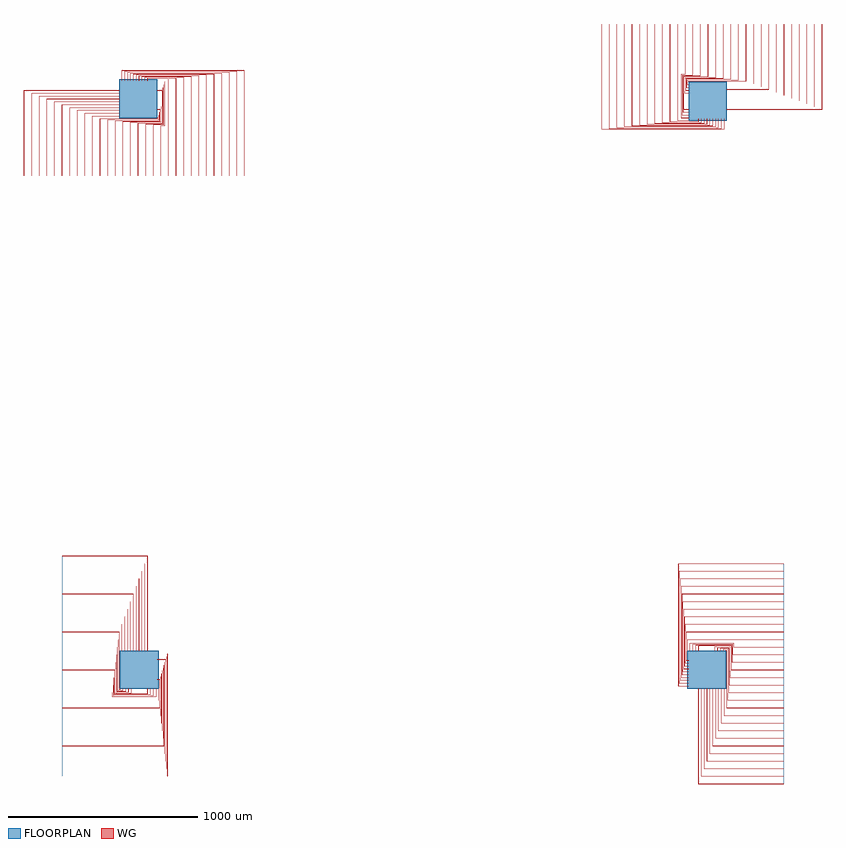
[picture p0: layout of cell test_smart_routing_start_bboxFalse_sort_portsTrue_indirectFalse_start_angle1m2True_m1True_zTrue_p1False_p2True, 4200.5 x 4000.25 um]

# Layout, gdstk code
import gdstk
lib = gdstk.Library(unit=1e-6, precision=1e-09)
def R(c, l, rs):  # rectangles x0, y0, x1, y1
    for r in rs: c.add(gdstk.rectangle(r[:2], r[2:], *l))
def P(c, l, *ps):  # polygons
    for p in ps: c.add(gdstk.Polygon(p, *l))
WG = (1, 0)
FLOORPLAN = (10, 0)

test_smart_routing_start = lib.new_cell('test_smart_routing_start_bboxFalse_sort_portsTrue_indirectFalse_start_angle1m2True_m1True_zTrue_p1False_p2True')
P(test_smart_routing_start, WG, [(3100,2949.75),(3100,2950.25),(3599.75,2950.25),(3599.75,3400),(3600.25,3400),(3600.25,2949.75)],
  [(3100,2964.75),(3100,2965.25),(3559.75,2965.25),(3559.75,3400),(3560.25,3400),(3560.25,2964.75)],
  [(3100,2979.75),(3100,2980.25),(3519.75,2980.25),(3519.75,3400),(3520.25,3400),(3520.25,2979.75)],
  [(3100,2994.75),(3100,2995.25),(3479.75,2995.25),(3479.75,3400),(3480.25,3400),(3480.25,2994.75)],
  [(3100,3009.75),(3100,3010.25),(3439.75,3010.25),(3439.75,3400),(3440.25,3400),(3440.25,3009.75)],
  [(3100,3024.75),(3100,3025.25),(3399.75,3025.25),(3399.75,3400),(3400.25,3400),(3400.25,3024.75)],
  [(3100,3039.75),(3100,3040.25),(3359.75,3040.25),(3359.75,3400),(3360.25,3400),(3360.25,3039.75)],
  [(3100,3054.75),(3100,3055.25),(3319.75,3055.25),(3319.75,3400),(3320.25,3400),(3320.25,3054.75)],
  [(3100,3069.75),(3100,3070.25),(3279.75,3070.25),(3279.75,3400),(3280.25,3400),(3280.25,3069.75)],
  [(3100,3084.75),(3100,3085.25),(3239.75,3085.25),(3239.75,3400),(3240.25,3400),(3240.25,3084.75)],
  [(2895.5,3094.75),(2895.5,3099.75),(3199.75,3099.75),(3199.75,3400),(3200.25,3400),(3200.25,3099.25),(2896,3099.25),(2896,3095.25),(2900,3095.25),(2900,3094.75)],
  [(2891,3079.75),(2891,3104.25),(3159.75,3104.25),(3159.75,3400),(3160.25,3400),(3160.25,3103.75),(2891.5,3103.75),(2891.5,3080.25),(2900,3080.25),(2900,3079.75)],
  [(2886.5,3064.75),(2886.5,3108.75),(3119.75,3108.75),(3119.75,3400),(3120.25,3400),(3120.25,3108.25),(2887,3108.25),(2887,3065.25),(2900,3065.25),(2900,3064.75)],
  [(2882,3049.75),(2882,3113.25),(3079.75,3113.25),(3079.75,3400),(3080.25,3400),(3080.25,3112.75),(2882.5,3112.75),(2882.5,3050.25),(2900,3050.25),(2900,3049.75)],
  [(2877.5,3034.75),(2877.5,3117.75),(3039.75,3117.75),(3039.75,3400),(3040.25,3400),(3040.25,3117.25),(2878,3117.25),(2878,3035.25),(2900,3035.25),(2900,3034.75)],
  [(2873,2949.75),(2873,3122.25),(2999.75,3122.25),(2999.75,3400),(3000.25,3400),(3000.25,3121.75),(2873.5,3121.75),(2873.5,2950.25),(2900,2950.25),(2900,2949.75)],
  [(2868.5,2934.75),(2868.5,3126.75),(2959.75,3126.75),(2959.75,3400),(2960.25,3400),(2960.25,3126.25),(2869,3126.25),(2869,2935.25),(2900,2935.25),(2900,2934.75)],
  [(2864,2919.75),(2864,3131.25),(2919.75,3131.25),(2919.75,3400),(2920.25,3400),(2920.25,3130.75),(2864.5,3130.75),(2864.5,2920.25),(2900,2920.25),(2900,2919.75)],
  [(2859.5,2904.75),(2859.5,3135.75),(2879.75,3135.75),(2879.75,3400),(2880.25,3400),(2880.25,3135.25),(2860,3135.25),(2860,2905.25),(2900,2905.25),(2900,2904.75)],
  [(2839.75,2889.75),(2839.75,3400),(2840.25,3400),(2840.25,2890.25),(2900,2890.25),(2900,2889.75)],
  [(2799.75,2885.25),(2799.75,3400),(2800.25,3400),(2800.25,2885.75),(2949.75,2885.75),(2949.75,2900),(2950.25,2900),(2950.25,2885.25)],
  [(2759.75,2880.75),(2759.75,3400),(2760.25,3400),(2760.25,2881.25),(2964.75,2881.25),(2964.75,2900),(2965.25,2900),(2965.25,2880.75)],
  [(2719.75,2876.25),(2719.75,3400),(2720.25,3400),(2720.25,2876.75),(2979.75,2876.75),(2979.75,2900),(2980.25,2900),(2980.25,2876.25)],
  [(2679.75,2871.75),(2679.75,3400),(2680.25,3400),(2680.25,2872.25),(2994.75,2872.25),(2994.75,2900),(2995.25,2900),(2995.25,2871.75)],
  [(2639.75,2867.25),(2639.75,3400),(2640.25,3400),(2640.25,2867.75),(3009.75,2867.75),(3009.75,2900),(3010.25,2900),(3010.25,2867.25)],
  [(2599.75,2862.75),(2599.75,3400),(2600.25,3400),(2600.25,2863.25),(3024.75,2863.25),(3024.75,2900),(3025.25,2900),(3025.25,2862.75)],
  [(2559.75,2858.25),(2559.75,3400),(2560.25,3400),(2560.25,2858.75),(3039.75,2858.75),(3039.75,2900),(3040.25,2900),(3040.25,2858.25)],
  [(2519.75,2853.75),(2519.75,3400),(2520.25,3400),(2520.25,2854.25),(3054.75,2854.25),(3054.75,2900),(3055.25,2900),(3055.25,2853.75)],
  [(2479.75,2849.25),(2479.75,3400),(2480.25,3400),(2480.25,2849.75),(3069.75,2849.75),(3069.75,2900),(3070.25,2900),(3070.25,2849.25)],
  [(2439.75,2844.75),(2439.75,3400),(2440.25,3400),(2440.25,2845.25),(3084.75,2845.25),(3084.75,2900),(3085.25,2900),(3085.25,2844.75)],
  [(-600.25,2600),(-600.25,3050.25),(-100,3050.25),(-100,3049.75),(-599.75,3049.75),(-599.75,2600)],
  [(-560.25,2600),(-560.25,3035.25),(-100,3035.25),(-100,3034.75),(-559.75,3034.75),(-559.75,2600)],
  [(-520.25,2600),(-520.25,3020.25),(-100,3020.25),(-100,3019.75),(-519.75,3019.75),(-519.75,2600)],
  [(-480.25,2600),(-480.25,3005.25),(-100,3005.25),(-100,3004.75),(-479.75,3004.75),(-479.75,2600)],
  [(-440.25,2600),(-440.25,2990.25),(-100,2990.25),(-100,2989.75),(-439.75,2989.75),(-439.75,2600)],
  [(-400.25,2600),(-400.25,2975.25),(-100,2975.25),(-100,2974.75),(-399.75,2974.75),(-399.75,2600)],
  [(-360.25,2600),(-360.25,2960.25),(-100,2960.25),(-100,2959.75),(-359.75,2959.75),(-359.75,2600)],
  [(-320.25,2600),(-320.25,2945.25),(-100,2945.25),(-100,2944.75),(-319.75,2944.75),(-319.75,2600)],
  [(-280.25,2600),(-280.25,2930.25),(-100,2930.25),(-100,2929.75),(-279.75,2929.75),(-279.75,2600)],
  [(-240.25,2600),(-240.25,2915.25),(-100,2915.25),(-100,2914.75),(-239.75,2914.75),(-239.75,2600)],
  [(-200.25,2600),(-200.25,2900.75),(104,2900.75),(104,2904.75),(100,2904.75),(100,2905.25),(104.5,2905.25),(104.5,2900.25),(-199.75,2900.25),(-199.75,2600)],
  [(-160.25,2600),(-160.25,2896.25),(108.5,2896.25),(108.5,2919.75),(100,2919.75),(100,2920.25),(109,2920.25),(109,2895.75),(-159.75,2895.75),(-159.75,2600)],
  [(-120.25,2600),(-120.25,2891.75),(113,2891.75),(113,2934.75),(100,2934.75),(100,2935.25),(113.5,2935.25),(113.5,2891.25),(-119.75,2891.25),(-119.75,2600)],
  [(-80.25,2600),(-80.25,2887.25),(117.5,2887.25),(117.5,2949.75),(100,2949.75),(100,2950.25),(118,2950.25),(118,2886.75),(-79.75,2886.75),(-79.75,2600)],
  [(-40.25,2600),(-40.25,2882.75),(122,2882.75),(122,2964.75),(100,2964.75),(100,2965.25),(122.5,2965.25),(122.5,2882.25),(-39.75,2882.25),(-39.75,2600)],
  [(-0.25,2600),(-0.25,2878.25),(126.5,2878.25),(126.5,3049.75),(100,3049.75),(100,3050.25),(127,3050.25),(127,2877.75),(0.25,2877.75),(0.25,2600)],
  [(39.75,2600),(39.75,2873.75),(131,2873.75),(131,3064.75),(100,3064.75),(100,3065.25),(131.5,3065.25),(131.5,2873.25),(40.25,2873.25),(40.25,2600)],
  [(79.75,2600),(79.75,2869.25),(135.5,2869.25),(135.5,3079.75),(100,3079.75),(100,3080.25),(136,3080.25),(136,2868.75),(80.25,2868.75),(80.25,2600)],
  [(119.75,2600),(119.75,2864.75),(140,2864.75),(140,3094.75),(100,3094.75),(100,3095.25),(140.5,3095.25),(140.5,2864.25),(120.25,2864.25),(120.25,2600)],
  [(159.75,2600),(159.75,3109.75),(100,3109.75),(100,3110.25),(160.25,3110.25),(160.25,2600)],
  [(199.75,2600),(199.75,3114.25),(50.25,3114.25),(50.25,3100),(49.75,3100),(49.75,3114.75),(200.25,3114.75),(200.25,2600)],
  [(239.75,2600),(239.75,3118.75),(35.25,3118.75),(35.25,3100),(34.75,3100),(34.75,3119.25),(240.25,3119.25),(240.25,2600)],
  [(279.75,2600),(279.75,3123.25),(20.25,3123.25),(20.25,3100),(19.75,3100),(19.75,3123.75),(280.25,3123.75),(280.25,2600)],
  [(319.75,2600),(319.75,3127.75),(5.25,3127.75),(5.25,3100),(4.75,3100),(4.75,3128.25),(320.25,3128.25),(320.25,2600)],
  [(359.75,2600),(359.75,3132.25),(-9.75,3132.25),(-9.75,3100),(-10.25,3100),(-10.25,3132.75),(360.25,3132.75),(360.25,2600)],
  [(399.75,2600),(399.75,3136.75),(-24.75,3136.75),(-24.75,3100),(-25.25,3100),(-25.25,3137.25),(400.25,3137.25),(400.25,2600)],
  [(439.75,2600),(439.75,3141.25),(-39.75,3141.25),(-39.75,3100),(-40.25,3100),(-40.25,3141.75),(440.25,3141.75),(440.25,2600)],
  [(479.75,2600),(479.75,3145.75),(-54.75,3145.75),(-54.75,3100),(-55.25,3100),(-55.25,3146.25),(480.25,3146.25),(480.25,2600)],
  [(519.75,2600),(519.75,3150.25),(-69.75,3150.25),(-69.75,3100),(-70.25,3100),(-70.25,3150.75),(520.25,3150.75),(520.25,2600)],
  [(559.75,2600),(559.75,3154.75),(-84.75,3154.75),(-84.75,3100),(-85.25,3100),(-85.25,3155.25),(560.25,3155.25),(560.25,2600)],
  [(49.75,100),(49.75,599.75),(-400,599.75),(-400,600.25),(50.25,600.25),(50.25,100)],
  [(34.75,100),(34.75,559.75),(-400,559.75),(-400,560.25),(35.25,560.25),(35.25,100)],
  [(19.75,100),(19.75,519.75),(-400,519.75),(-400,520.25),(20.25,520.25),(20.25,100)],
  [(4.75,100),(4.75,479.75),(-400,479.75),(-400,480.25),(5.25,480.25),(5.25,100)],
  [(-10.25,100),(-10.25,439.75),(-400,439.75),(-400,440.25),(-9.75,440.25),(-9.75,100)],
  [(-25.25,100),(-25.25,399.75),(-400,399.75),(-400,400.25),(-24.75,400.25),(-24.75,100)],
  [(-40.25,100),(-40.25,359.75),(-400,359.75),(-400,360.25),(-39.75,360.25),(-39.75,100)],
  [(-55.25,100),(-55.25,319.75),(-400,319.75),(-400,320.25),(-54.75,320.25),(-54.75,100)],
  [(-70.25,100),(-70.25,279.75),(-400,279.75),(-400,280.25),(-69.75,280.25),(-69.75,100)],
  [(-85.25,100),(-85.25,239.75),(-400,239.75),(-400,240.25),(-84.75,240.25),(-84.75,100)],
  [(-99.75,-104.5),(-99.75,199.75),(-400,199.75),(-400,200.25),(-99.25,200.25),(-99.25,-104),(-95.25,-104),(-95.25,-100),(-94.75,-100),(-94.75,-104.5)],
  [(-104.25,-109),(-104.25,159.75),(-400,159.75),(-400,160.25),(-103.75,160.25),(-103.75,-108.5),(-80.25,-108.5),(-80.25,-100),(-79.75,-100),(-79.75,-109)],
  [(-108.75,-113.5),(-108.75,119.75),(-400,119.75),(-400,120.25),(-108.25,120.25),(-108.25,-113),(-65.25,-113),(-65.25,-100),(-64.75,-100),(-64.75,-113.5)],
  [(-113.25,-118),(-113.25,79.75),(-400,79.75),(-400,80.25),(-112.75,80.25),(-112.75,-117.5),(-50.25,-117.5),(-50.25,-100),(-49.75,-100),(-49.75,-118)],
  [(-117.75,-122.5),(-117.75,39.75),(-400,39.75),(-400,40.25),(-117.25,40.25),(-117.25,-122),(-35.25,-122),(-35.25,-100),(-34.75,-100),(-34.75,-122.5)],
  [(-122.25,-127),(-122.25,-0.25),(-400,-0.25),(-400,0.25),(-121.75,0.25),(-121.75,-126.5),(49.75,-126.5),(49.75,-100),(50.25,-100),(50.25,-127)],
  [(-126.75,-131.5),(-126.75,-40.25),(-400,-40.25),(-400,-39.75),(-126.25,-39.75),(-126.25,-131),(64.75,-131),(64.75,-100),(65.25,-100),(65.25,-131.5)],
  [(-131.25,-136),(-131.25,-80.25),(-400,-80.25),(-400,-79.75),(-130.75,-79.75),(-130.75,-135.5),(79.75,-135.5),(79.75,-100),(80.25,-100),(80.25,-136)],
  [(-135.75,-140.5),(-135.75,-120.25),(-400,-120.25),(-400,-119.75),(-135.25,-119.75),(-135.25,-140),(94.75,-140),(94.75,-100),(95.25,-100),(95.25,-140.5)],
  [(-400,-160.25),(-400,-159.75),(109.75,-159.75),(109.75,-100),(110.25,-100),(110.25,-160.25)],
  [(-400,-200.25),(-400,-199.75),(114.25,-199.75),(114.25,-50.25),(100,-50.25),(100,-49.75),(114.75,-49.75),(114.75,-200.25)],
  [(-400,-240.25),(-400,-239.75),(118.75,-239.75),(118.75,-35.25),(100,-35.25),(100,-34.75),(119.25,-34.75),(119.25,-240.25)],
  [(-400,-280.25),(-400,-279.75),(123.25,-279.75),(123.25,-20.25),(100,-20.25),(100,-19.75),(123.75,-19.75),(123.75,-280.25)],
  [(-400,-320.25),(-400,-319.75),(127.75,-319.75),(127.75,-5.25),(100,-5.25),(100,-4.75),(128.25,-4.75),(128.25,-320.25)],
  [(-400,-360.25),(-400,-359.75),(132.25,-359.75),(132.25,9.75),(100,9.75),(100,10.25),(132.75,10.25),(132.75,-360.25)],
  [(-400,-400.25),(-400,-399.75),(136.75,-399.75),(136.75,24.75),(100,24.75),(100,25.25),(137.25,25.25),(137.25,-400.25)],
  [(-400,-440.25),(-400,-439.75),(141.25,-439.75),(141.25,39.75),(100,39.75),(100,40.25),(141.75,40.25),(141.75,-440.25)],
  [(-400,-480.25),(-400,-479.75),(145.75,-479.75),(145.75,54.75),(100,54.75),(100,55.25),(146.25,55.25),(146.25,-480.25)],
  [(-400,-520.25),(-400,-519.75),(150.25,-519.75),(150.25,69.75),(100,69.75),(100,70.25),(150.75,70.25),(150.75,-520.25)],
  [(-400,-560.25),(-400,-559.75),(154.75,-559.75),(154.75,84.75),(100,84.75),(100,85.25),(155.25,85.25),(155.25,-560.25)],
  [(2949.75,-600.25),(2949.75,-100),(2950.25,-100),(2950.25,-599.75),(3400,-599.75),(3400,-600.25)],
  [(2964.75,-560.25),(2964.75,-100),(2965.25,-100),(2965.25,-559.75),(3400,-559.75),(3400,-560.25)],
  [(2979.75,-520.25),(2979.75,-100),(2980.25,-100),(2980.25,-519.75),(3400,-519.75),(3400,-520.25)],
  [(2994.75,-480.25),(2994.75,-100),(2995.25,-100),(2995.25,-479.75),(3400,-479.75),(3400,-480.25)],
  [(3009.75,-440.25),(3009.75,-100),(3010.25,-100),(3010.25,-439.75),(3400,-439.75),(3400,-440.25)],
  [(3024.75,-400.25),(3024.75,-100),(3025.25,-100),(3025.25,-399.75),(3400,-399.75),(3400,-400.25)],
  [(3039.75,-360.25),(3039.75,-100),(3040.25,-100),(3040.25,-359.75),(3400,-359.75),(3400,-360.25)],
  [(3054.75,-320.25),(3054.75,-100),(3055.25,-100),(3055.25,-319.75),(3400,-319.75),(3400,-320.25)],
  [(3069.75,-280.25),(3069.75,-100),(3070.25,-100),(3070.25,-279.75),(3400,-279.75),(3400,-280.25)],
  [(3084.75,-240.25),(3084.75,-100),(3085.25,-100),(3085.25,-239.75),(3400,-239.75),(3400,-240.25)],
  [(3099.25,-200.25),(3099.25,104),(3095.25,104),(3095.25,100),(3094.75,100),(3094.75,104.5),(3099.75,104.5),(3099.75,-199.75),(3400,-199.75),(3400,-200.25)],
  [(3103.75,-160.25),(3103.75,108.5),(3080.25,108.5),(3080.25,100),(3079.75,100),(3079.75,109),(3104.25,109),(3104.25,-159.75),(3400,-159.75),(3400,-160.25)],
  [(3108.25,-120.25),(3108.25,113),(3065.25,113),(3065.25,100),(3064.75,100),(3064.75,113.5),(3108.75,113.5),(3108.75,-119.75),(3400,-119.75),(3400,-120.25)],
  [(3112.75,-80.25),(3112.75,117.5),(3050.25,117.5),(3050.25,100),(3049.75,100),(3049.75,118),(3113.25,118),(3113.25,-79.75),(3400,-79.75),(3400,-80.25)],
  [(3117.25,-40.25),(3117.25,122),(3035.25,122),(3035.25,100),(3034.75,100),(3034.75,122.5),(3117.75,122.5),(3117.75,-39.75),(3400,-39.75),(3400,-40.25)],
  [(3121.75,-0.25),(3121.75,126.5),(2950.25,126.5),(2950.25,100),(2949.75,100),(2949.75,127),(3122.25,127),(3122.25,0.25),(3400,0.25),(3400,-0.25)],
  [(3126.25,39.75),(3126.25,131),(2935.25,131),(2935.25,100),(2934.75,100),(2934.75,131.5),(3126.75,131.5),(3126.75,40.25),(3400,40.25),(3400,39.75)],
  [(3130.75,79.75),(3130.75,135.5),(2920.25,135.5),(2920.25,100),(2919.75,100),(2919.75,136),(3131.25,136),(3131.25,80.25),(3400,80.25),(3400,79.75)],
  [(2904.75,100),(2904.75,140.5),(3135.75,140.5),(3135.75,120.25),(3400,120.25),(3400,119.75),(3135.25,119.75),(3135.25,140),(2905.25,140),(2905.25,100)],
  [(2889.75,100),(2889.75,160.25),(3400,160.25),(3400,159.75),(2890.25,159.75),(2890.25,100)],
  [(2885.25,49.75),(2885.25,200.25),(3400,200.25),(3400,199.75),(2885.75,199.75),(2885.75,50.25),(2900,50.25),(2900,49.75)],
  [(2880.75,34.75),(2880.75,240.25),(3400,240.25),(3400,239.75),(2881.25,239.75),(2881.25,35.25),(2900,35.25),(2900,34.75)],
  [(2876.25,19.75),(2876.25,280.25),(3400,280.25),(3400,279.75),(2876.75,279.75),(2876.75,20.25),(2900,20.25),(2900,19.75)],
  [(2871.75,4.75),(2871.75,320.25),(3400,320.25),(3400,319.75),(2872.25,319.75),(2872.25,5.25),(2900,5.25),(2900,4.75)],
  [(2867.25,-10.25),(2867.25,360.25),(3400,360.25),(3400,359.75),(2867.75,359.75),(2867.75,-9.75),(2900,-9.75),(2900,-10.25)],
  [(2862.75,-25.25),(2862.75,400.25),(3400,400.25),(3400,399.75),(2863.25,399.75),(2863.25,-24.75),(2900,-24.75),(2900,-25.25)],
  [(2858.25,-40.25),(2858.25,440.25),(3400,440.25),(3400,439.75),(2858.75,439.75),(2858.75,-39.75),(2900,-39.75),(2900,-40.25)],
  [(2853.75,-55.25),(2853.75,480.25),(3400,480.25),(3400,479.75),(2854.25,479.75),(2854.25,-54.75),(2900,-54.75),(2900,-55.25)],
  [(2849.25,-70.25),(2849.25,520.25),(3400,520.25),(3400,519.75),(2849.75,519.75),(2849.75,-69.75),(2900,-69.75),(2900,-70.25)],
  [(2844.75,-85.25),(2844.75,560.25),(3400,560.25),(3400,559.75),(2845.25,559.75),(2845.25,-84.75),(2900,-84.75),(2900,-85.25)])
R(test_smart_routing_start, FLOORPLAN, [(-95,-100,110,100), (2890,-100,3095,100), (2900,2890,3100,3095), (-100,2905,100,3110)])
P(test_smart_routing_start, FLOORPLAN, [(-400,-560),(-400,600),(-400,600),(-400,-560)],
  [(-600,2600),(-600,2600),(560,2600),(560,2600)],
  [(3400,-600),(3400,560),(3400,560),(3400,-600)],
  [(2440,3400),(2440,3400),(3600,3400),(3600,3400)])

lib.write_gds('test_smart_routing_start_bboxFalse_sort_portsTrue_indirectFalse_start_angle1m2True_m1True_zTrue_p1False_p2True.gds')
